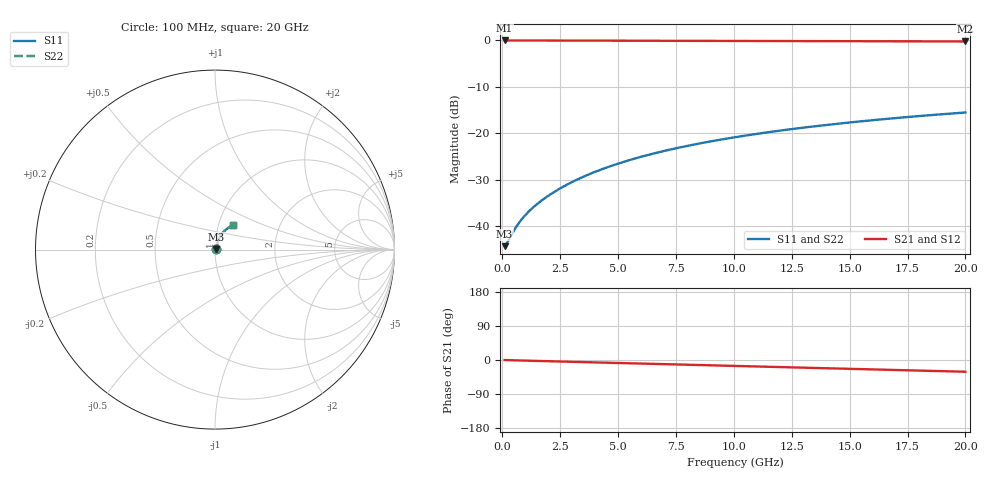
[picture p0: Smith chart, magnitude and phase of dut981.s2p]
! Touchstone file exported from HFSS 2026.1.0
!  File:  C:/ffzhzh/LocalFiles/Ansys_Project_Files/temp_train_TMRDL_981_1783159191_55132.aedt
!  Generated:  06:00:58 PM Jul  4, 2026
!  Design:  TMRDL
!  Project:  temp_train_TMRDL_981_1783159191_55132
! Variables:
!  h_bsmrdl = 2um
!  h_ox = 20um
!  h_rdl = 5um
!  h_sub = 80um
!  h_tmrdl = 2.07um
!  h_tsv = 80um
!  h_via = 3um
!  l_bsmrdl = 300um
!  l_sub = 921.7um
!  l_tmrdl = 521.7um
!  m_sub = 200um
!  pitch = 22.11um
!  r_tsv = 6um
!  s_tmrdl = 10um
!  w_bsmrdl = 18um
!  w_sub = 500um
!  w_tmrdl = 15.48um
!  x_tsv_center1 = 529.44um
!  x_tsv_center2 = 847.44um
!  x_tsv_center3 = 1384.62um
!  x_tsv_center4 = 1702.62um
!  x_tsv_center5 = 2239.8um
!  x_tsv_center6 = 2557.8um
# GHz S MA R 50.000000
! Terminal data exported
! Port[1] = TM_RDL1_1_T1
! Port[2] = TM_RDL1_1_T2
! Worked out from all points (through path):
!   200 points, 100 MHz to 20 GHz, reference 50 ohm
!   highest |S21| = -0.05 dB at 100 MHz (marker M1); lowest = -0.3 dB at 20 GHz (marker M2)
!   group delay of S21, straight-line fit = 4.3 ps
!   lowest |S11| = -44.3 dB at 100 MHz (marker M3), VSWR 1.01, Z = 50.6 + j0.127 ohm
!   |S11| at or under -10 dB: start of sweep to end of sweep
!   |S22| runs from -44.3 to -15.5 dB; largest |S21 - S12| = 4.2e-15
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0.1  0.006116 11.8  0.994 -0.2  0.994 -0.2  0.006116 11.8
! Gamma 0 0 0 0
! Port Impedance 50 0 50 0
0.2  0.006591 22.1  0.9939 -0.4  0.9939 -0.4  0.006591 22.1
0.5  0.008954 40.8  0.9933 -0.9  0.9933 -0.9  0.008954 40.8
0.7  0.01071 47.0  0.9928 -1.2  0.9928 -1.2  0.01071 47.0
0.8  0.01157 49.2  0.9926 -1.4  0.9926 -1.4  0.01157 49.2
1  0.01325 52.8  0.9922 -1.7  0.9922 -1.7  0.01325 52.8
1.3  0.0157 56.8  0.9918 -2.1  0.9918 -2.1  0.0157 56.8
1.8  0.01975 61.5  0.9913 -2.9  0.9913 -2.9  0.01975 61.5
2.3  0.02388 64.7  0.991 -3.7  0.991 -3.7  0.02388 64.7
2.9  0.02895 67.2  0.9906 -4.6  0.9906 -4.6  0.02894 67.2
3.5  0.0341 68.7  0.9903 -5.6  0.9903 -5.6  0.0341 68.7
4.2  0.04018 69.7  0.9898 -6.7  0.9898 -6.7  0.04017 69.8
5  0.04716 70.2  0.9893 -7.9  0.9893 -7.9  0.04716 70.3
5.9  0.05503 70.2  0.9886 -9.3  0.9886 -9.3  0.05503 70.3
6.8  0.06287 69.9  0.9878 -10.8  0.9878 -10.8  0.06287 69.9
8.4  0.07667 68.6  0.9862 -13.2  0.9862 -13.2  0.07667 68.6
10.1  0.09108 66.8  0.9843 -15.9  0.9843 -15.9  0.09107 66.9
11.7  0.1043 64.9  0.9823 -18.4  0.9823 -18.4  0.1043 64.9
13.4  0.118 62.7  0.98 -21.0  0.98 -21.0  0.118 62.7
15  0.1306 60.5  0.9777 -23.4  0.9777 -23.4  0.1306 60.6
16.7  0.1435 58.2  0.9751 -26.0  0.9751 -26.0  0.1435 58.3
20  0.1672 53.6  0.9699 -31.0  0.9699 -31.0  0.1672 53.7
